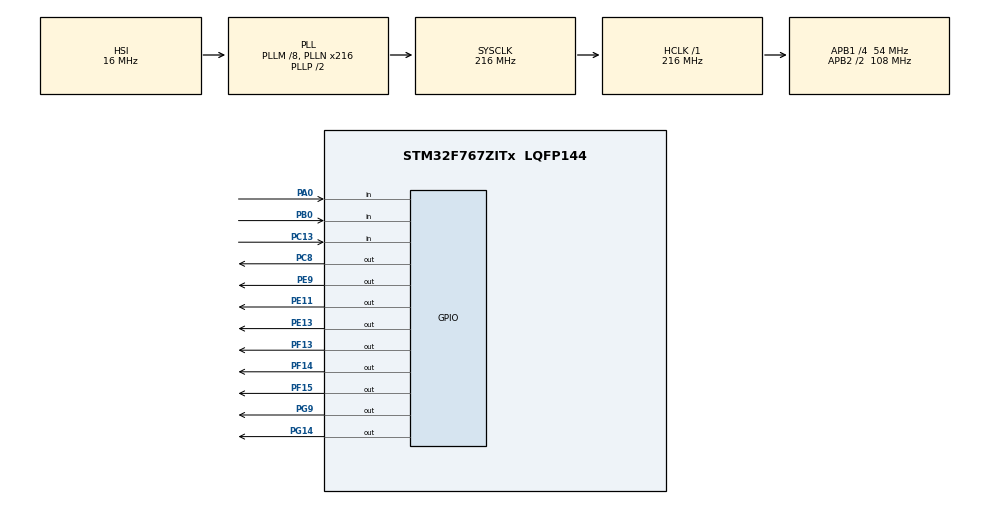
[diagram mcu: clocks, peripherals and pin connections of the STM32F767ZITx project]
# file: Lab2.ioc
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CORTEX_M7.default_mode_Activation=1
Mcu.Family=STM32F7
Mcu.Name=STM32F767ZITx
Mcu.Package=LQFP144
NVIC.PriorityGroup=NVIC_PRIORITYGROUP_4
PA0/WKUP.Signal=GPIO_Input
PB0.Signal=GPIO_Input
PC13.Signal=GPIO_Input
PC8.Signal=GPIO_Output
PE11.Signal=GPIO_Output
PE13.Signal=GPIO_Output
PE9.Signal=GPIO_Output
PF13.Signal=GPIO_Output
PF14.Signal=GPIO_Output
PF15.Signal=GPIO_Output
PG14.Signal=GPIO_Output
PG9.Signal=GPIO_Output
ProjectManager.HeapSize=0x200
ProjectManager.StackSize=0x400
ProjectManager.TargetToolchain=STM32CubeIDE
RCC.AHBFreq_Value=216000000
RCC.APB1CLKDivider=RCC_HCLK_DIV4
RCC.APB1Freq_Value=54000000
RCC.APB1TimFreq_Value=108000000
RCC.APB2CLKDivider=RCC_HCLK_DIV2
RCC.APB2Freq_Value=108000000
RCC.APB2TimFreq_Value=216000000
RCC.CortexFreq_Value=216000000
RCC.HCLKFreq_Value=216000000
RCC.HSE_VALUE=25000000
RCC.HSI_VALUE=16000000
RCC.LSE_VALUE=32768
RCC.PLLM=8
RCC.PLLN=216
RCC.SYSCLKFreq_VALUE=216000000
RCC.SYSCLKSource=RCC_SYSCLKSOURCE_PLLCLK
RCC.USBFreq_Value=216000000
RCC.VCOOutputFreq_Value=432000000
board=custom

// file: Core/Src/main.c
/* USER CODE BEGIN Header */
/**
  ******************************************************************************
  * @file           : main.c
  * @brief          : Main program body
  ******************************************************************************
  * @attention
  *
  * Copyright (c) 2026 STMicroelectronics.
  * All rights reserved.
  *
  * This software is licensed under terms that can be found in the LICENSE file
  * in the root directory of this software component.
  * If no LICENSE file comes with this software, it is provided AS-IS.
  *
  ******************************************************************************
  */
/* USER CODE END Header */
#include "main.h"
#include "gpio.h"

/* USER CODE BEGIN PV */
uint8_t pa0=1;
uint8_t pc13 =0;
int current_led = 9;
/* USER CODE END PV */

void SystemClock_Config(void);
static void MPU_Config(void);

int main(void)
{

  /* MPU Configuration--------------------------------------------------------*/
  MPU_Config();

  /* MCU Configuration--------------------------------------------------------*/

  /* Reset of all peripherals, Initializes the Flash interface and the Systick. */
  HAL_Init();

  /* Configure the system clock */
  SystemClock_Config();

  /* Initialize all configured peripherals */
  MX_GPIO_Init();
  /* USER CODE BEGIN 2 */

  int fetchLed(int led){

	  	 GPIO_TypeDef* led_port[8] = {GPIOG, GPIOG, GPIOF, GPIOE,
	                                  GPIOF, GPIOE, GPIOE, GPIOF};

	     uint16_t led_pin[8] = {GPIO_PIN_9,  GPIO_PIN_14, GPIO_PIN_15, GPIO_PIN_13,
	                            GPIO_PIN_14, GPIO_PIN_11, GPIO_PIN_9,  GPIO_PIN_13};

	     // 1. แก้ไขตัวแปร i ให้เป็นตัวพิมพ์เล็กทั้งหมดเพื่อไม่ให้คอมไพเลอร์สับสน
	     for (int i = 0; i < 8; i++) {
	         // ปิดให้หมดทุกดวง
	         HAL_GPIO_WritePin(led_port[i], led_pin[i], GPIO_PIN_RESET);
	     }
	     if(led >7){
	     	  		  return 0;
	     	  	  }
	     // 2. ป้องกันการส่งค่า led เกินขนาดอาร์เรย์ (0-7) เพื่อไม่ให้บอร์ดค้าง (Crash)
	     if (led >= 0 && led < 8) {
	         // เปิดดวงเดียว
	         HAL_GPIO_WritePin(led_port[led], led_pin[led], GPIO_PIN_SET);
	     }
	     return 0;
  }

  int loopback (int count){
	  int flag = count;
	  if(count>7){
		  count=0;
	  }
	  for(int i = count-1;i>=-1;i--){
		  if(i<0){
			  i=7;
		  }
		  if(i == count){

			  fetchLed(count);
			  if(flag>7){
				  HAL_Delay(300);
				  fetchLed(9);
			  }
			  return 0;
		  }
		  fetchLed(i);
		  HAL_Delay(300);
	  }
	  return 0;
  }
  /* USER CODE END 2 */

  /* Infinite loop */
  /* USER CODE BEGIN WHILE */
  while (1)
  {
	  if(HAL_GPIO_ReadPin(GPIOC, GPIO_PIN_13) == GPIO_PIN_SET){
	  		  HAL_Delay(50);
	  		  if(HAL_GPIO_ReadPin(GPIOC, GPIO_PIN_13) == GPIO_PIN_SET){
	  		  current_led++;
	  		  if(current_led > 7){
	  			  current_led = 0;
	  		  }
	  		while(HAL_GPIO_ReadPin(GPIOC, GPIO_PIN_13) == GPIO_PIN_SET){
	  		            // โปรแกรมจะติดอยู่ในนี้จนกว่าจะปล่อยปุ่ม
	  		        }
	  		  }
	  	  }
	  fetchLed(current_led);
	  if(HAL_GPIO_ReadPin(GPIOA, GPIO_PIN_0) == GPIO_PIN_RESET){
		  loopback(current_led);
	  }
    /* USER CODE END WHILE */

  }
}

void SystemClock_Config(void)
{
  RCC_OscInitTypeDef RCC_OscInitStruct = {0};
  RCC_ClkInitTypeDef RCC_ClkInitStruct = {0};

  /** Configure the main internal regulator output voltage
  */
  __HAL_RCC_PWR_CLK_ENABLE();
  __HAL_PWR_VOLTAGESCALING_CONFIG(PWR_REGULATOR_VOLTAGE_SCALE1);

  /** Initializes the RCC Oscillators according to the specified parameters
  * in the RCC_OscInitTypeDef structure.
  */
  RCC_OscInitStruct.OscillatorType = RCC_OSCILLATORTYPE_HSI;
  RCC_OscInitStruct.HSIState = RCC_HSI_ON;
  RCC_OscInitStruct.HSICalibrationValue = RCC_HSICALIBRATION_DEFAULT;
  RCC_OscInitStruct.PLL.PLLState = RCC_PLL_ON;
  RCC_OscInitStruct.PLL.PLLSource = RCC_PLLSOURCE_HSI;
  RCC_OscInitStruct.PLL.PLLM = 8;
  RCC_OscInitStruct.PLL.PLLN = 216;
  RCC_OscInitStruct.PLL.PLLP = RCC_PLLP_DIV2;
  RCC_OscInitStruct.PLL.PLLQ = 2;
  RCC_OscInitStruct.PLL.PLLR = 2;
  if (HAL_RCC_OscConfig(&RCC_OscInitStruct) != HAL_OK)
  {
    Error_Handler();
  }

  /** Activate the Over-Drive mode
  */
  if (HAL_PWREx_EnableOverDrive() != HAL_OK)
  {
    Error_Handler();
  }

  /** Initializes the CPU, AHB and APB buses clocks
  */
  RCC_ClkInitStruct.ClockType = RCC_CLOCKTYPE_HCLK|RCC_CLOCKTYPE_SYSCLK
                              |RCC_CLOCKTYPE_PCLK1|RCC_CLOCKTYPE_PCLK2;
  RCC_ClkInitStruct.SYSCLKSource = RCC_SYSCLKSOURCE_PLLCLK;
  RCC_ClkInitStruct.AHBCLKDivider = RCC_SYSCLK_DIV1;
  RCC_ClkInitStruct.APB1CLKDivider = RCC_HCLK_DIV4;
  RCC_ClkInitStruct.APB2CLKDivider = RCC_HCLK_DIV2;

  if (HAL_RCC_ClockConfig(&RCC_ClkInitStruct, FLASH_LATENCY_7) != HAL_OK)
  {
    Error_Handler();
  }
}

 /* MPU Configuration */

void MPU_Config(void)
{
  MPU_Region_InitTypeDef MPU_InitStruct = {0};

  /* Disables the MPU */
  HAL_MPU_Disable();

  /** Initializes and configures the Region and the memory to be protected
  */
  MPU_InitStruct.Enable = MPU_REGION_ENABLE;
  MPU_InitStruct.Number = MPU_REGION_NUMBER0;
  MPU_InitStruct.BaseAddress = 0x0;
  MPU_InitStruct.Size = MPU_REGION_SIZE_4GB;
  MPU_InitStruct.SubRegionDisable = 0x87;
  MPU_InitStruct.TypeExtField = MPU_TEX_LEVEL0;
  MPU_InitStruct.AccessPermission = MPU_REGION_NO_ACCESS;
  MPU_InitStruct.DisableExec = MPU_INSTRUCTION_ACCESS_DISABLE;
  MPU_InitStruct.IsShareable = MPU_ACCESS_SHAREABLE;
  MPU_InitStruct.IsCacheable = MPU_ACCESS_NOT_CACHEABLE;
  MPU_InitStruct.IsBufferable = MPU_ACCESS_NOT_BUFFERABLE;

  HAL_MPU_ConfigRegion(&MPU_InitStruct);
  /* Enables the MPU */
  HAL_MPU_Enable(MPU_PRIVILEGED_DEFAULT);

}

void Error_Handler(void)
{
  __disable_irq();
  while (1)
  {
  }
}
